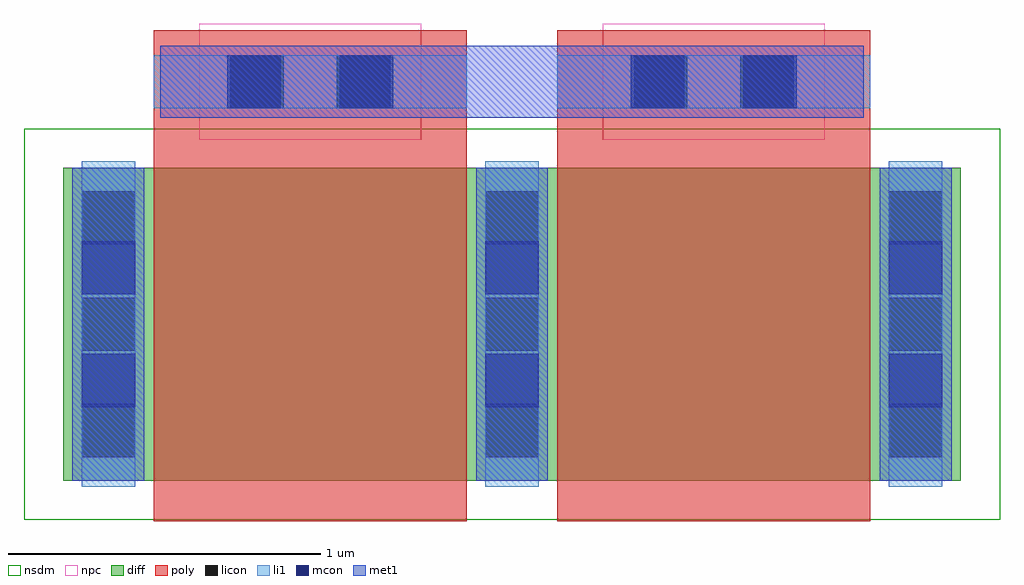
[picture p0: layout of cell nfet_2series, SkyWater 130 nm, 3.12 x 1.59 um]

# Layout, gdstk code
import gdstk
lib = gdstk.Library(unit=1e-6, precision=1e-09)
def R(c, l, rs):  # rectangles x0, y0, x1, y1
    for r in rs: c.add(gdstk.rectangle(r[:2], r[2:], *l))
def A(c, l, x, y, w, h, nx, ny, dx, dy):  # array of equal rectangles
    R(c, l, [(x+i*dx, y+j*dy, x+i*dx+w, y+j*dy+h) for i in range(nx) for j in range(ny)])
diff = (65, 20)
poly = (66, 20)
licon = (66, 44)
li1 = (67, 20)
mcon = (67, 44)
met1 = (68, 20)
nsdm = (93, 44)
npc = (95, 20)

nfet_2series = lib.new_cell('nfet_2series')
R(nfet_2series, diff, [(10.737,-0.46,12.317,0.54), (12.027,-0.46,13.607,0.54)])
R(nfet_2series, poly, [(11.027,-0.59,12.027,0.98), (12.317,-0.59,13.317,0.98)])
A(nfet_2series, licon, 10.797, -0.385, 0.17, 0.17, 1, 3, 0, 0.34)
A(nfet_2series, licon, 13.377, -0.385, 0.17, 0.17, 1, 3, 0, 0.34)
R(nfet_2series, licon, [(12.087,-0.385,12.257,-0.215), (12.087,-0.385,12.257,-0.215), (12.087,-0.045,12.257,0.125), (12.087,-0.045,12.257,0.125), (12.087,0.295,12.257,0.465), (12.087,0.295,12.257,0.465), (11.272,0.73,11.442,0.9), (11.612,0.73,11.782,0.9), (12.562,0.73,12.732,0.9), (12.902,0.73,13.072,0.9)])
R(nfet_2series, li1, [(10.797,-0.48,10.967,0.56), (12.087,-0.48,12.257,0.56), (12.087,-0.48,12.257,0.56), (13.377,-0.48,13.547,0.56), (11.027,0.73,12.027,0.9), (12.317,0.73,13.317,0.9)])
R(nfet_2series, mcon, [(10.797,-0.225,10.967,-0.055), (12.087,-0.225,12.257,-0.055), (12.087,-0.225,12.257,-0.055), (13.377,-0.225,13.547,-0.055), (10.797,0.135,10.967,0.305), (12.087,0.135,12.257,0.305), (12.087,0.135,12.257,0.305), (13.377,0.135,13.547,0.305), (11.262,0.73,11.432,0.9), (11.622,0.73,11.792,0.9), (12.552,0.73,12.722,0.9), (12.912,0.73,13.082,0.9)])
R(nfet_2series, met1, [(10.767,-0.46,10.997,0.54), (12.057,-0.46,12.287,0.54), (12.057,-0.46,12.287,0.54), (13.347,-0.46,13.577,0.54), (11.047,0.7,12.007,0.93), (11.047,0.7,13.297,0.93), (12.337,0.7,13.297,0.93)])
R(nfet_2series, nsdm, [(10.612,-0.585,12.442,0.665), (11.902,-0.585,13.732,0.665)])
R(nfet_2series, npc, [(11.172,0.63,11.882,1), (12.462,0.63,13.172,1)])

lib.write_gds('nfet_2series.gds')
